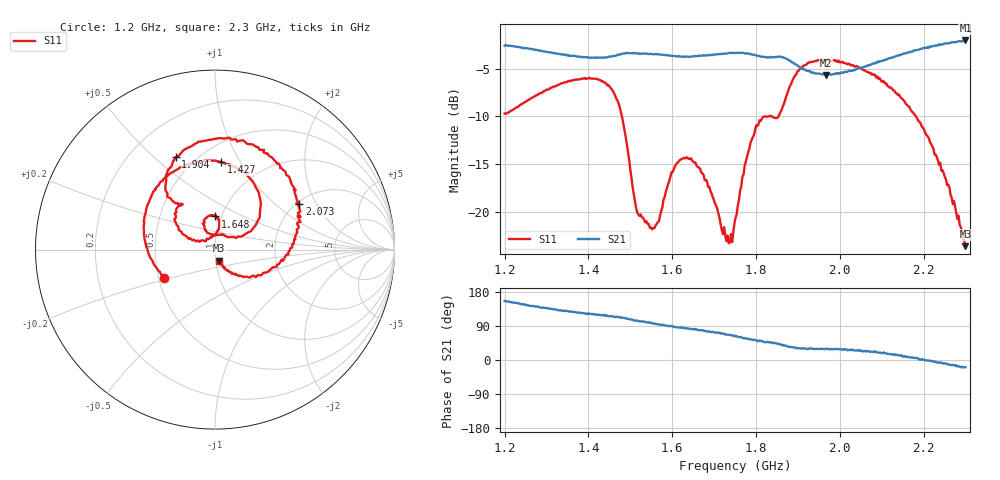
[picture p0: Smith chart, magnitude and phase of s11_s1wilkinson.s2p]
# HZ S RI R 50
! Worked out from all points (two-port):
!   404 points, 1.2 GHz to 2.3 GHz, reference 50 ohm
!   highest |S21| = -2.06 dB at 2.3 GHz (marker M1); lowest = -5.7 dB at 1.967 GHz (marker M2)
!   |S21| within 3 dB of the highest: start of sweep to 1.914 GHz; 2.04 GHz to end of sweep
!   lowest |S11| = -23.6 dB at 2.3 GHz (marker M3), VSWR 1.14, Z = 52 - j6.45 ohm
!   |S11| at or under -10 dB: 1.48 GHz to 1.83 GHz (350.2 MHz wide, 21.2 % of centre); 1.837 GHz to 1.854 GHz (16.69 MHz wide, 0.904 % of centre); 2.182 GHz to end of sweep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
!   S12 and S22 are empty: the file has one direction only
!   S11 on the Smith chart (normalised r, x): 1.2 GHz: 0.53, -0.19; 1.427 GHz: 0.65, +0.83; 1.648 GHz: 0.94, +0.36; 1.904 GHz: 0.39, +0.59; 2.073 GHz: 2.07, +1.47; 2.3 GHz: 1.04, -0.13
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1.2e9  -0.2848 -0.1605  -0.676 0.3023  0 0  0 0
1.298263e9  -0.3933 0.181  -0.504 0.4688  0 0  0 0
1.385608e9  -0.183 0.4615  -0.362 0.5367  0 0  0 0
1.426551e9  0.034 0.4895  -0.3155 0.5591  0 0  0 0
1.475682e9  0.2535 0.2355  -0.264 0.6108  0 0  0 0
1.494789e9  0.1807 0.094  -0.213 0.6431  0 0  0 0
1.516625e9  0.0695 0.0702  -0.1651 0.6533  0 0  0 0
1.568486e9  -0.0229 0.0859  -0.0491 0.6643  0 0  0 0
1.60397e9  -0.0586 0.1562  0.0334 0.6534  0 0  0 0
1.647643e9  0.0012 0.1848  0.0939 0.6428  0 0  0 0
1.732258e9  -0.0252 0.0706  0.2672 0.6196  0 0  0 0
1.751365e9  -0.0785 0.05  0.295 0.6116  0 0  0 0
1.77866e9  -0.1752 0.083  0.3709 0.5663  0 0  0 0
1.803226e9  -0.2196 0.1747  0.4148 0.5092  0 0  0 0
1.866005e9  -0.2401 0.2746  0.5068 0.3922  0 0  0 0
1.904218e9  -0.2189 0.5138  0.4907 0.2959  0 0  0 0
1.934243e9  -0.048 0.6075  0.4661 0.262  0 0  0 0
1.966998e9  0.1238 0.6019  0.4503 0.2599  0 0  0 0
2.073449e9  0.4697 0.2534  0.5489 0.2166  0 0  0 0
2.117122e9  0.4473 0.0588  0.6122 0.1742  0 0  0 0
2.196278e9  0.24 -0.1407  0.7138 0.0325  0 0  0 0
2.3e9  0.0232 -0.0618  0.7461 -0.2564  0 0  0 0
